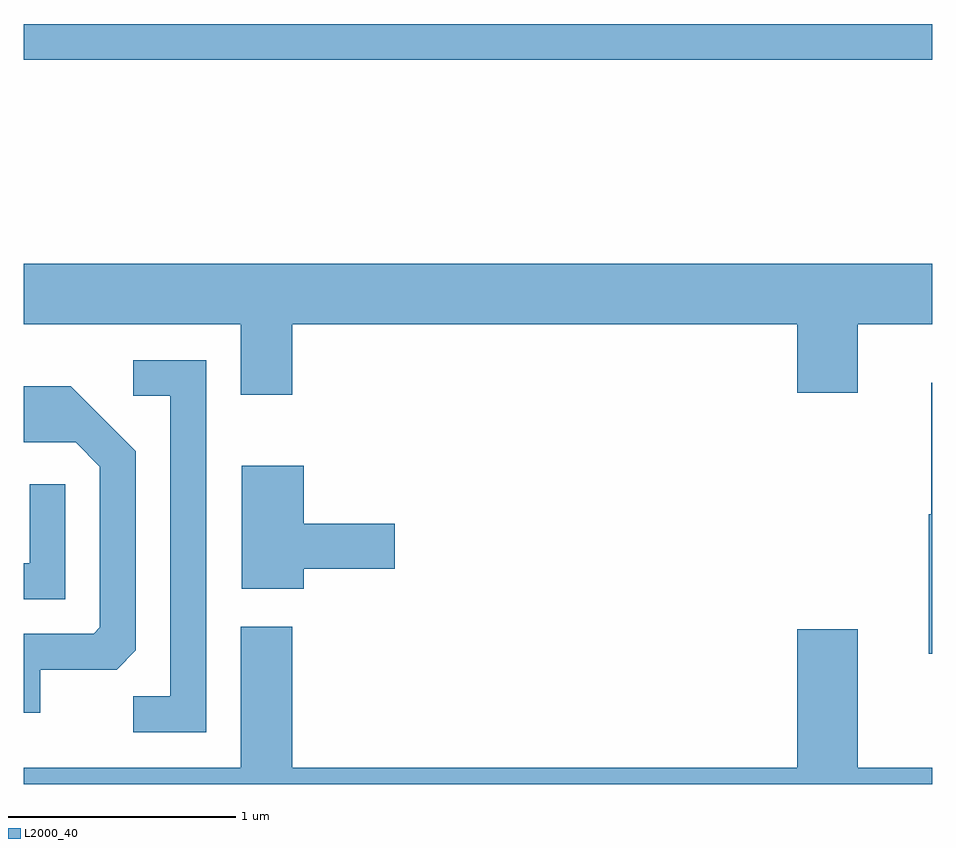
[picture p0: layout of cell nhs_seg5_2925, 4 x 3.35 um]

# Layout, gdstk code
import gdstk
lib = gdstk.Library(unit=1e-6, precision=1e-09)
def R(c, l, rs):  # rectangles x0, y0, x1, y1
    for r in rs: c.add(gdstk.rectangle(r[:2], r[2:], *l))
def P(c, l, *ps):  # polygons
    for p in ps: c.add(gdstk.Polygon(p, *l))
L2000_40 = (2000, 40)

nhs_seg5_2925 = lib.new_cell('nhs_seg5_2925')
R(nhs_seg5_2925, L2000_40, [(271.611,1491.261,275.611,1491.419)])
P(nhs_seg5_2925, L2000_40, [(272.794,1490.096),(275.016,1490.096),(275.016,1489.796),(275.284,1489.796),(275.284,1490.096),(275.611,1490.096),(275.611,1490.364),(271.611,1490.364),(271.611,1490.096),(272.566,1490.096),(272.566,1489.786),(272.794,1489.786)],
  [(272.414,1489.939),(272.093,1489.939),(272.093,1489.781),(272.256,1489.781),(272.256,1488.459),(272.093,1488.459),(272.093,1488.301),(272.414,1488.301)],
  [(275.611,1489.839),(275.606,1489.839),(275.606,1489.26),(275.596,1489.26),(275.596,1488.646),(275.611,1488.646)],
  [(271.684,1488.576),(272.019,1488.576),(272.104,1488.662),(272.104,1489.537),(271.817,1489.824),(271.611,1489.824),(271.611,1489.576),(271.839,1489.576),(271.946,1489.469),(271.946,1488.762),(271.919,1488.734),(271.611,1488.734),(271.611,1488.386),(271.684,1488.386)],
  [(272.844,1489.021),(273.244,1489.021),(273.244,1489.219),(272.844,1489.219),(272.844,1489.474),(272.571,1489.474),(272.571,1488.931),(272.844,1488.931)],
  [(271.794,1489.393),(271.636,1489.393),(271.636,1489.044),(271.611,1489.044),(271.611,1488.886),(271.794,1488.886)],
  [(275.611,1488.144),(275.284,1488.144),(275.284,1488.754),(275.016,1488.754),(275.016,1488.144),(272.794,1488.144),(272.794,1488.764),(272.566,1488.764),(272.566,1488.144),(271.611,1488.144),(271.611,1488.072),(275.611,1488.072)])

lib.write_gds('nhs_seg5_2925.gds')
